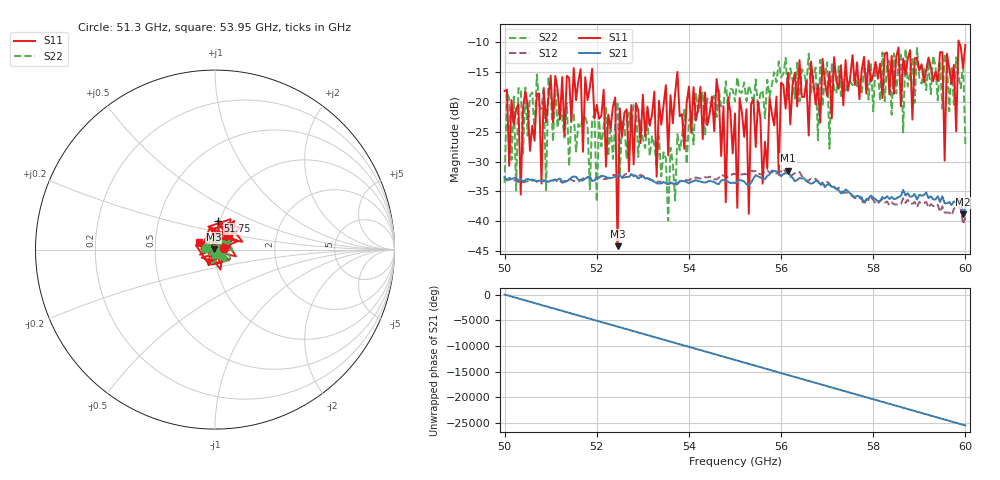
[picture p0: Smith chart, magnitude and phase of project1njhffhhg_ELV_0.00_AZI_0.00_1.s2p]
! 11/24/2026 9:58:27 AM
! C:\ANRITSUVNA\TEMP\TEMP.S2P
! CHANNEL.1
! TR.MEASUREMENT
! RAW.DATA
# HZ S RI R 50.0
! FREQ.HZ  S11RE  S11IM  S21RE  S21IM  S12RE  S12IM  S22RE  S22IM
!; PortSelection: Port_12
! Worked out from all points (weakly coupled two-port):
!   201 points, 50 GHz to 60 GHz, reference 50 ohm
!   highest |S21| = -31.51 dB at 56.15 GHz (marker M1); lowest = -38.8 dB at 59.95 GHz (marker M2)
!   lowest |S11| = -44.2 dB at 52.45 GHz (marker M3), VSWR 1.01, Z = 49.4 + j0.0595 ohm
!   |S11| at or under -10 dB: start of sweep to 59.85 GHz; 59.86444 GHz to end of sweep
!   |S22| runs from -39.9 to -10.9 dB; largest |S21 - S12| = 0.041
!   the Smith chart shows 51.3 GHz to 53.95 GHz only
!   S11 on the Smith chart (normalised r, x): 51.3 GHz: 1.11, +0.02; 51.75 GHz: 0.98, +0.32; 53.95 GHz: 0.84, +0.07
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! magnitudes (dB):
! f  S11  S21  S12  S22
! 50 GHz  -18.2  -32.6  -32.7  -33.6
! 50.35 GHz  -35.5  -33.0  -33.1  -17.8
! 50.45 GHz  -18.2  -33.1  -33.4  -17.6
! 51.3 GHz  -25.6  -33.3  -33.4  -26.0
! 51.7 GHz  -28.4  -33.2  -32.8  -22.5
! 51.75 GHz  -15.8  -32.9  -32.6  -22.6
! 52.4 GHz  -19.2  -32.6  -32.3  -23.6
! 52.45 GHz  -44.2  -32.4  -32.6  -19.9
! 52.5 GHz  -21.1  -32.2  -32.7  -32.2
! 53.35 GHz  -19.8  -33.7  -33.3  -25.7
! 53.95 GHz  -20.2  -33.4  -33.1  -30.4
! 54.6 GHz  -16.2  -33.7  -33.0  -22.5
! 54.8 GHz  -36.8  -33.2  -32.6  -16.5
! 55 GHz  -21.9  -33.6  -32.1  -19.9
! 55.3 GHz  -38.8  -34.0  -31.8  -17.2
! 55.35 GHz  -20.3  -33.5  -31.5  -18.5
! 55.95 GHz  -32.2  -32.0  -31.8  -13.2
! 56.15 GHz  -15.1  -31.5  -31.8  -19.6
! 56.7 GHz  -16.7  -33.6  -32.9  -15.9
! 58.35 GHz  -18.7  -36.3  -37.3  -13.1
! 59.95 GHz  -14.3  -38.8  -40.5  -13.2
! 60 GHz  -10.4  -37.6  -39.4  -27.2
